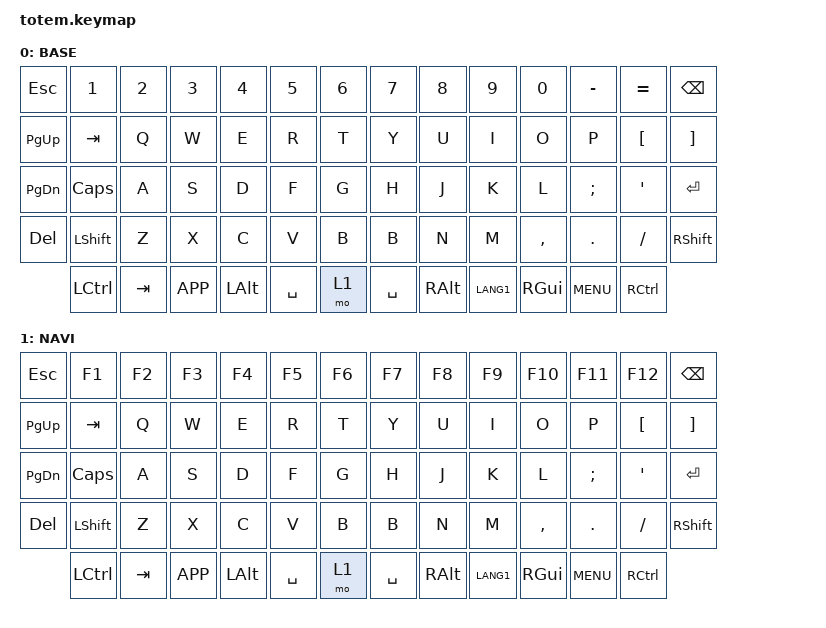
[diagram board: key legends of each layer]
//
//                                                        ▀▀▀▀▀     ▀▀▀▀▀          ▀▀█▀▀
//                                                        ▄▀▀▀▄  ▄  ▄▀▀▀▄  ▄  ▄▀▀▀▄  █  ▄▀▀▀▄
//                                                        █   █  █  █   █  █  █   █  █  █   █
//                                                         ▀▀▀   █   ▀▀▀   █   ▀▀▀   ▀   ▀▀▀
//                                                               █      ▄▄▄█▄▄▄    █   █  
//                                                               ▀      █  █  █     █▄█
//                                                             ▀▀▀▀▀    █  █  █      ▀
//                                                                      ▀  ▀  ▀
//
// ▄▄▄▄▄▄▄▄▄▄▄▄▄▄▄▄▄▄▄▄▄▄▄▄▄▄▄▄▄▄▄▄▄▄▄▄▄▄▄▄▄▄▄▄▄▄▄▄▄▄▄▄▄▄▄▄▄▄▄▄▄▄▄▄▄▄▄▄▄▄▄▄▄▄▄▄▄▄▄▄▄▄▄▄▄▄▄▄▄▄▄▄▄▄▄▄▄▄▄▄▄▄▄▄▄▄▄▄▄▄▄▄▄▄▄▄▄▄▄▄▄▄▄▄▄▄▄▄▄▄▄▄▄▄▄▄▄▄▄▄▄▄▄▄▄▄▄▄▄
       

#include <behaviors.dtsi>
#include <dt-bindings/zmk/keys.h>
#include <dt-bindings/zmk/bt.h>
#include <dt-bindings/zmk/outputs.h>

#define BASE 0
#define NAV  1

/ {
        keymap {
                compatible = "zmk,keymap";
// ▄▄▄▄▄▄▄▄▄▄▄▄▄▄▄▄▄▄▄▄▄▄▄▄▄▄▄▄▄▄▄▄▄▄▄▄▄▄▄▄▄▄▄▄▄▄▄▄▄▄▄▄▄▄▄▄▄▄▄▄▄▄▄▄▄▄▄▄▄▄▄▄▄▄▄▄▄▄▄▄▄▄▄▄▄▄▄▄▄▄▄▄▄▄▄▄▄▄▄▄▄▄▄▄▄▄▄▄▄▄▄▄▄▄▄▄▄▄▄▄▄▄▄▄▄▄▄▄▄▄▄▄▄▄▄▄▄▄▄▄▄▄▄▄▄▄▄▄▄

                base_layer {
// ┏━━━━━━━━━━━━━━━━━━━━━━━━━━━━━━━━━━━━━━━┓
label= "BASE"                              ;
// ┗━━━━━━━━━━━━━━━━━━━━━━━━━━━━━━━━━━━━━━━┛
// ┏━━━━━━━━━━━┳━━━━━━━━━━━┳━━━━━━━━━━━┳━━━━━━━━━━━┳━━━━━━━━━━━┳━━━━━━━━━━━┳━━━━━━━━━━━┓      ┏━━━━━━━━━━━┳━━━━━━━━━━━┳━━━━━━━━━━━┳━━━━━━━━━━━┳━━━━━━━━━━━┳━━━━━━━━━━━┳━━━━━━━━━━━┓
// ┃    ESC    ┃     1     ┃     2     ┃     3     ┃     4     ┃     5     ┃     6     ┃      ┃     7     ┃     8     ┃     9     ┃     0     ┃     -     ┃     =     ┃    BSPC   ┃
// ┣━━━━━━━━━━━╋━━━━━━━━━━━╋━━━━━━━━━━━╋━━━━━━━━━━━╋━━━━━━━━━━━╋━━━━━━━━━━━╋━━━━━━━━━━━┫      ┣━━━━━━━━━━━╋━━━━━━━━━━━╋━━━━━━━━━━━╋━━━━━━━━━━━╋━━━━━━━━━━━╋━━━━━━━━━━━╋━━━━━━━━━━━┫
// ┃   PG_UP   ┃    TAB    ┃     Q     ┃     W     ┃     E     ┃     R     ┃     T     ┃      ┃     Y     ┃     U     ┃     I     ┃     O     ┃     P     ┃     [     ┃     ]     ┃
// ┣━━━━━━━━━━━╋━━━━━━━━━━━╋━━━━━━━━━━━╋━━━━━━━━━━━╋━━━━━━━━━━━╋━━━━━━━━━━━╋━━━━━━━━━━━┫      ┣━━━━━━━━━━━╋━━━━━━━━━━━╋━━━━━━━━━━━╋━━━━━━━━━━━╋━━━━━━━━━━━╋━━━━━━━━━━━╋━━━━━━━━━━━┫
// ┃   PG_DN   ┃    CAPS   ┃     A     ┃     S     ┃     D     ┃     F     ┃     G     ┃      ┃     H     ┃     J     ┃     K     ┃     L     ┃     ;     ┃     '     ┃   ENTER   ┃
// ┣━━━━━━━━━━━╋━━━━━━━━━━━╋━━━━━━━━━━━╋━━━━━━━━━━━╋━━━━━━━━━━━╋━━━━━━━━━━━╋━━━━━━━━━━━┫      ┣━━━━━━━━━━━╋━━━━━━━━━━━╋━━━━━━━━━━━╋━━━━━━━━━━━╋━━━━━━━━━━━╋━━━━━━━━━━━╋━━━━━━━━━━━┫
// ┃    DEL    ┃   LSHIFT  ┃     Z     ┃     X     ┃     C     ┃     V     ┃     B     ┃      ┃     B     ┃     N     ┃     M     ┃     ,     ┃     .     ┃     /     ┃   RSHIFT  ┃
// ┗━━━━━━━━━━━╋━━━━━━━━━━━╋━━━━━━━━━━━╋━━━━━━━━━━━╋━━━━━━━━━━━╋━━━━━━━━━━━╋━━━━━━━━━━━┫      ┣━━━━━━━━━━━╋━━━━━━━━━━━╋━━━━━━━━━━━╋━━━━━━━━━━━╋━━━━━━━━━━━╋━━━━━━━━━━━╋━━━━━━━━━━━┛
//             ┃   LCTRL   ┃    TAB    ┃    K_APP  ┃   LALT    ┃   SPACE   ┃   LAYER   ┃      ┃   SPACE   ┃   RALT    ┃   LANG1   ┃   RGUI    ┃   K_MENU  ┃   RCTRL   ┃
//             ┗━━━━━━━━━━━┻━━━━━━━━━━━┻━━━━━━━━━━━┻━━━━━━━━━━━┻━━━━━━━━━━━┻━━━━━━━━━━━┛      ┗━━━━━━━━━━━┻━━━━━━━━━━━┻━━━━━━━━━━━┻━━━━━━━━━━━┻━━━━━━━━━━━┻━━━━━━━━━━━┛
 bindings = <
// ╷           ╷           ╷           ╷           ╷           ╷           ╷           ╷      ╷           ╷           ╷           ╷           ╷           ╷           ╷           ╷

    &kp ESC     &kp N1      &kp N2      &kp N3      &kp N4      &kp N5     &kp N6              &kp N7      &kp N8      &kp N9      &kp N0      &kp MINUS   &kp EQUAL   &kp BSPC
    &kp PG_UP   &kp TAB     &kp Q       &kp W       &kp E       &kp R      &kp T               &kp Y       &kp U       &kp I       &kp O       &kp P       &kp LBKT    &kp RBKT
    &kp PG_DN   &kp CAPS    &kp A       &kp S       &kp D       &kp F      &kp G               &kp H       &kp J       &kp K       &kp L       &kp SEMI    &kp SQT     &kp ENTER
    &kp DEL     &kp LSHIFT  &kp Z       &kp X       &kp C       &kp V      &kp B               &kp B       &kp N       &kp M       &kp COMMA   &kp DOT     &kp SLASH   &kp RSHIFT
                &kp LCTRL   &kp TAB     &kp K_APP   &kp LALT    &kp SPACE  &mo 1               &kp SPACE   &kp RALT    &kp LANG1   &kp RGUI    &kp K_MENU  &kp RCTRL
                        >;
                };

// ▄▄▄▄▄▄▄▄▄▄▄▄▄▄▄▄▄▄▄▄▄▄▄▄▄▄▄▄▄▄▄▄▄▄▄▄▄▄▄▄▄▄▄▄▄▄▄▄▄▄▄▄▄▄▄▄▄▄▄▄▄▄▄▄▄▄▄▄▄▄▄▄▄▄▄▄▄▄▄▄▄▄▄▄▄▄▄▄▄▄▄▄▄▄▄▄▄▄▄▄▄▄▄▄▄▄▄▄▄▄▄▄▄▄▄▄▄▄▄▄▄▄▄▄▄▄▄▄▄▄▄▄▄▄▄▄▄▄▄▄▄▄▄▄▄▄▄▄▄


                nav_layer {
// ┏━━━━━━━━━━━━━━━━━━━━━━━━━━━━━━━━━━━━━━━┓
label= "NAVI"                              ;
// ┗━━━━━━━━━━━━━━━━━━━━━━━━━━━━━━━━━━━━━━━┛
// ┏━━━━━━━━━━━┳━━━━━━━━━━━┳━━━━━━━━━━━┳━━━━━━━━━━━┳━━━━━━━━━━━┳━━━━━━━━━━━┳━━━━━━━━━━━┓      ┏━━━━━━━━━━━┳━━━━━━━━━━━┳━━━━━━━━━━━┳━━━━━━━━━━━┳━━━━━━━━━━━┳━━━━━━━━━━━┳━━━━━━━━━━━┓
// ┃    ESC    ┃    F1     ┃    F2     ┃    F3     ┃    F4     ┃    F5     ┃    F6     ┃      ┃    F7     ┃    F8     ┃    F9     ┃    F10    ┃    F11    ┃    F12    ┃    BSPC   ┃
// ┣━━━━━━━━━━━╋━━━━━━━━━━━╋━━━━━━━━━━━╋━━━━━━━━━━━╋━━━━━━━━━━━╋━━━━━━━━━━━╋━━━━━━━━━━━┫      ┣━━━━━━━━━━━╋━━━━━━━━━━━╋━━━━━━━━━━━╋━━━━━━━━━━━╋━━━━━━━━━━━╋━━━━━━━━━━━╋━━━━━━━━━━━┫
// ┃   PG_UP   ┃    TAB    ┃     Q     ┃     UP    ┃     E     ┃     R     ┃     T     ┃      ┃     Y     ┃     U     ┃     I     ┃     O     ┃     P     ┃     [     ┃     ]     ┃
// ┣━━━━━━━━━━━╋━━━━━━━━━━━╋━━━━━━━━━━━╋━━━━━━━━━━━╋━━━━━━━━━━━╋━━━━━━━━━━━╋━━━━━━━━━━━┫      ┣━━━━━━━━━━━╋━━━━━━━━━━━╋━━━━━━━━━━━╋━━━━━━━━━━━╋━━━━━━━━━━━╋━━━━━━━━━━━╋━━━━━━━━━━━┫
// ┃   PG_DN   ┃    CAPS   ┃   LEFT    ┃    DOWN   ┃   RIGHT   ┃     F     ┃     G     ┃      ┃     H     ┃     J     ┃     K     ┃     L     ┃     ;     ┃     '     ┃   ENTER   ┃
// ┣━━━━━━━━━━━╋━━━━━━━━━━━╋━━━━━━━━━━━╋━━━━━━━━━━━╋━━━━━━━━━━━╋━━━━━━━━━━━╋━━━━━━━━━━━┫      ┣━━━━━━━━━━━╋━━━━━━━━━━━╋━━━━━━━━━━━╋━━━━━━━━━━━╋━━━━━━━━━━━╋━━━━━━━━━━━╋━━━━━━━━━━━┫
// ┃    DEL    ┃   LSHIFT  ┃     Z     ┃     X     ┃     C     ┃     V     ┃     B     ┃      ┃     B     ┃     N     ┃     M     ┃     ,     ┃     .     ┃     /     ┃   RSHIFT  ┃
// ┗━━━━━━━━━━━╋━━━━━━━━━━━╋━━━━━━━━━━━╋━━━━━━━━━━━╋━━━━━━━━━━━╋━━━━━━━━━━━╋━━━━━━━━━━━┫      ┣━━━━━━━━━━━╋━━━━━━━━━━━╋━━━━━━━━━━━╋━━━━━━━━━━━╋━━━━━━━━━━━╋━━━━━━━━━━━╋━━━━━━━━━━━┛
//             ┃   LCTRL   ┃    TAB    ┃    K_APP  ┃   LALT    ┃   SPACE   ┃   LAYER   ┃      ┃   SPACE   ┃   RALT    ┃   LANG1   ┃   RGUI    ┃   K_MENU  ┃   RCTRL   ┃
//             ┗━━━━━━━━━━━┻━━━━━━━━━━━┻━━━━━━━━━━━┻━━━━━━━━━━━┻━━━━━━━━━━━┻━━━━━━━━━━━┛      ┗━━━━━━━━━━━┻━━━━━━━━━━━┻━━━━━━━━━━━┻━━━━━━━━━━━┻━━━━━━━━━━━┻━━━━━━━━━━━┛
 bindings = <
// ╷           ╷           ╷           ╷           ╷           ╷           ╷           ╷      ╷           ╷           ╷           ╷           ╷           ╷           ╷           ╷

    &kp ESC     &kp F1      &kp F2      &kp F3      &kp F4      &kp F5     &kp F6              &kp F7      &kp F8      &kp F9      &kp F10     &kp F11     &kp F12     &kp BSPC
    &kp PG_UP   &kp TAB     &kp Q       &kp W       &kp E       &kp R      &kp T               &kp Y       &kp U       &kp I       &kp O       &kp P       &kp LBKT    &kp RBKT
    &kp PG_DN   &kp CAPS    &kp A       &kp S       &kp D       &kp F      &kp G               &kp H       &kp J       &kp K       &kp L       &kp SEMI    &kp SQT     &kp ENTER
    &kp DEL     &kp LSHIFT  &kp Z       &kp X       &kp C       &kp V      &kp B               &kp B       &kp N       &kp M       &kp COMMA   &kp DOT     &kp FSLH    &kp RSHIFT
                &kp LCTRL   &kp TAB     &kp K_APP   &kp LALT    &kp SPACE  &mo 1               &kp SPACE   &kp RALT    &kp LANG1   &kp RGUI    &kp K_MENU  &kp RCTRL
                        >;
                };
        };
};
